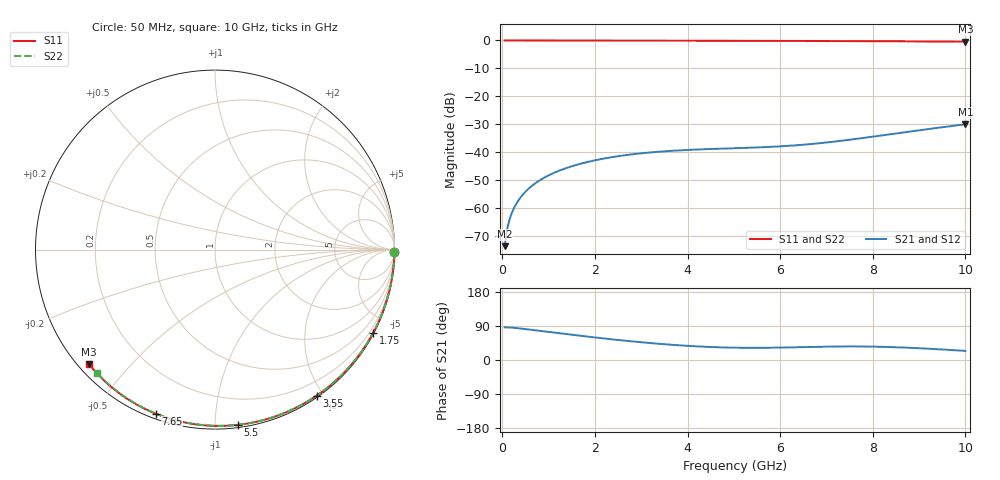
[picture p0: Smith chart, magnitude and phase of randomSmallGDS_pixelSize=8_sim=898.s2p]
! freq	dB(S11)	phase(S11)	dB(S12)	phase(S12)
!  dB(S21)	phase(S21)	dB(S22)	phase(S22)
!S-par simulation data
#  GHz  S  DB  R 50
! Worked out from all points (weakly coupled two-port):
!   200 points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, 50 MHz to 10 GHz, reference 50 ohm
!   highest |S21| = -30.03 dB at 10 GHz (marker M1); lowest = -73.7 dB at 50 MHz (marker M2)
!   lowest |S11| = -0.5 dB at 10 GHz (marker M3), VSWR 38.14, Z = 1.51 - j19.4 ohm
!   |S11| at or under -10 dB: nowhere
!   |S22| runs from -0.4 to 0.0 dB; largest |S21 - S12| = 0
!   S11 on the Smith chart (normalised r, x): 50 MHz: open; 1.75 GHz: 0.04, -4.02; 3.55 GHz: 0.02, -1.91; 5.5 GHz: 0.02, -1.14; 7.65 GHz: 0.02, -0.70; 10 GHz: 0.03, -0.39
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0.05  -0.00 -0.8  -73.71 86.3  -73.71 86.3  -0.00 -0.8
0.1  -0.00 -1.6  -67.96 86.1  -67.96 86.1  -0.00 -1.6
0.15  -0.00 -2.4  -64.52 85.9  -64.52 85.9  -0.00 -2.4
0.2  -0.00 -3.2  -62.07 85.5  -62.07 85.5  -0.00 -3.2
0.25  -0.00 -4.1  -60.15 84.9  -60.15 84.9  -0.00 -3.9
0.35  -0.00 -5.7  -57.26 83.7  -57.26 83.7  -0.00 -5.5
0.5  -0.01 -8.1  -54.19 81.6  -54.19 81.6  -0.01 -7.9
0.7  -0.01 -11.3  -51.33 78.6  -51.33 78.6  -0.01 -11.0
1  -0.02 -16.1  -48.34 74.1  -48.34 74.1  -0.02 -15.6
1.35  -0.03 -21.6  -45.91 68.9  -45.91 68.9  -0.03 -21.0
1.75  -0.04 -27.9  -43.91 63.0  -43.91 63.0  -0.03 -27.1
2.5  -0.05 -39.5  -41.47 52.8  -41.47 52.8  -0.05 -38.4
3.4  -0.07 -53.0  -39.84 42.6  -39.84 42.6  -0.07 -51.5
3.55  -0.07 -55.2  -39.66 41.1  -39.66 41.1  -0.07 -53.6
4.3  -0.09 -66.0  -39.02 35.4  -39.02 35.4  -0.09 -64.1
5.05  -0.12 -76.4  -38.60 32.4  -38.60 32.4  -0.11 -74.3
5.5  -0.13 -82.5  -38.34 32.1  -38.34 32.1  -0.13 -80.2
6.7  -0.19 -98.0  -37.07 34.6  -37.07 34.6  -0.18 -95.3
7.65  -0.25 -109.8  -35.26 35.8  -35.26 35.8  -0.24 -106.8
8.35  -0.30 -118.2  -33.68 34.3  -33.68 34.3  -0.29 -115.0
9.2  -0.37 -128.3  -31.75 29.8  -31.75 29.8  -0.36 -124.7
10  -0.46 -137.6  -30.03 24.0  -30.03 24.0  -0.44 -133.8
